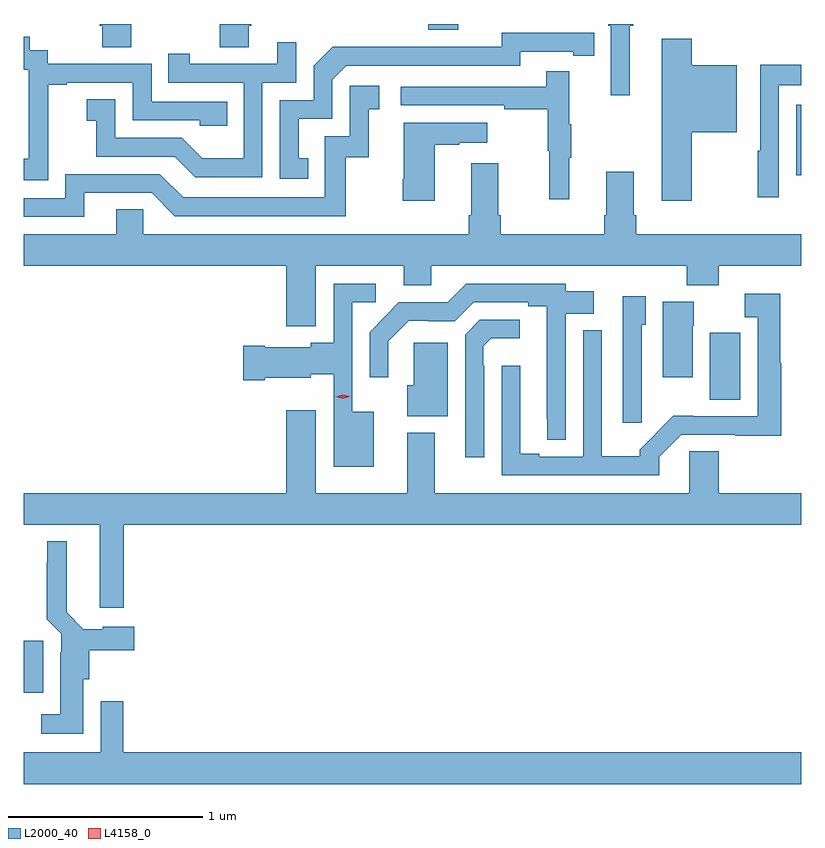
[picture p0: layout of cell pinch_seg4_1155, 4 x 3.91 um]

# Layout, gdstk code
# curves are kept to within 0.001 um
import gdstk
lib = gdstk.Library(unit=1e-6, precision=1e-09)
def R(c, l, rs):  # rectangles x0, y0, x1, y1
    for r in rs: c.add(gdstk.rectangle(r[:2], r[2:], *l))
def P(c, l, *ps):  # polygons
    for p in ps: c.add(gdstk.Polygon(p, *l))
L2000_40 = (2000, 40)
L4158_0 = (4158, 0)

pinch_seg4_1155 = lib.new_cell('pinch_seg4_1155')
R(pinch_seg4_1155, L2000_40, [(400.262,758.661,400.363,758.929), (403.79,760.168,403.948,760.513), (404.234,761.321,404.262,761.686), (402.344,762.071,402.496,762.1)])
P(pinch_seg4_1155, L2000_40, [(403.378,762.092),(403.397,762.092),(403.397,762.1),(403.268,762.1),(403.268,762.092),(403.281,762.092),(403.281,761.733),(403.378,761.733)],
  [(400.815,762.1),(400.655,762.1),(400.655,762.09),(400.667,762.09),(400.667,761.98),(400.815,761.98)],
  [(401.419,762.09),(401.432,762.09),(401.432,762.1),(401.272,762.1),(401.272,761.98),(401.419,761.98)],
  [(401.726,761.409),(401.677,761.409),(401.677,761.613),(401.85,761.613),(401.85,761.814),(401.922,761.886),(402.816,761.886),(402.816,761.958),(403.088,761.958),(403.088,761.938),(403.196,761.938),(403.196,762.054),(402.72,762.055),(402.72,761.982),(402.26,761.982),(402.26,761.984),(401.852,761.984),(401.754,761.886),(401.754,761.709),(401.58,761.709),(401.58,761.304),(401.726,761.304)],
  [(400.389,761.503),(400.388,761.503),(400.388,761.787),(400.483,761.787),(400.483,761.799),(400.824,761.799),(400.824,761.604),(401.169,761.604),(401.169,761.577),(401.309,761.577),(401.309,761.7),(400.92,761.7),(400.92,761.895),(400.386,761.895),(400.386,761.964),(400.294,761.964),(400.294,762.034),(400.262,762.034),(400.262,761.865),(400.29,761.865),(400.29,761.636),(400.289,761.636),(400.289,761.407),(400.262,761.407),(400.262,761.297),(400.389,761.297)],
  [(403.698,761.543),(403.93,761.543),(403.93,761.887),(403.698,761.887),(403.698,762.025),(403.544,762.025),(403.544,761.19),(403.698,761.19)],
  [(401.49,761.799),(401.664,761.799),(401.664,762.007),(401.567,762.007),(401.567,761.895),(401.116,761.895),(401.116,761.947),(401.005,761.947),(401.005,761.799),(401.394,761.799),(401.394,761.41),(401.18,761.41),(401.076,761.514),(400.734,761.514),(400.734,761.713),(400.587,761.713),(400.587,761.603),(400.636,761.603),(400.636,761.418),(401.039,761.418),(401.144,761.313),(401.49,761.313)],
  [(404.145,761.786),(404.262,761.786),(404.262,761.89),(404.049,761.89),(404.049,761.447),(404.037,761.447),(404.037,761.208),(404.145,761.208)],
  [(403.067,761.411),(403.078,761.411),(403.078,761.585),(403.067,761.585),(403.067,761.857),(402.949,761.857),(402.949,761.778),(402.201,761.778),(402.201,761.682),(402.733,761.682),(402.733,761.662),(402.957,761.662),(402.957,761.448),(402.964,761.448),(402.964,761.199),(403.067,761.199)],
  [(400.573,761.232),(400.92,761.232),(401.04,761.112),(401.92,761.112),(401.92,761.415),(402.038,761.415),(402.038,761.661),(402.091,761.661),(402.091,761.782),(401.94,761.782),(401.94,761.523),(401.811,761.523),(401.811,761.208),(401.082,761.208),(400.962,761.328),(400.476,761.328),(400.476,761.205),(400.262,761.205),(400.262,761.109),(400.573,761.109)],
  [(402.376,761.479),(402.503,761.479),(402.503,761.489),(402.646,761.489),(402.646,761.593),(402.218,761.593),(402.218,761.302),(402.211,761.302),(402.211,761.19),(402.376,761.19)],
  [(401.764,760.856),(402.218,760.856),(402.218,760.757),(402.358,760.757),(402.358,760.856),(403.673,760.856),(403.673,760.757),(403.838,760.757),(403.838,760.856),(404.262,760.856),(404.262,761.02),(403.412,761.02),(403.412,761.116),(403.399,761.116),(403.399,761.341),(403.259,761.341),(403.259,761.116),(403.247,761.116),(403.247,761.02),(402.716,761.02),(402.716,761.116),(402.703,761.116),(402.703,761.383),(402.563,761.383),(402.563,761.116),(402.551,761.116),(402.551,761.02),(400.878,761.02),(400.878,761.147),(400.739,761.147),(400.739,761.02),(400.262,761.02),(400.262,760.856),(401.612,760.856),(401.612,760.547),(401.764,760.547)],
  [(402.064,760.105),(401.952,760.105),(401.952,760.668),(402.072,760.668),(402.072,760.764),(401.856,760.764),(401.856,760.462),(401.739,760.462),(401.739,760.438),(401.503,760.438),(401.503,760.446),(401.391,760.446),(401.391,760.268),(401.503,760.268),(401.503,760.28),(401.739,760.28),(401.739,760.298),(401.856,760.298),(401.856,759.824),(402.064,759.824)],
  [(403.05,760.61),(403.195,760.61),(403.195,760.726),(403.05,760.726),(403.05,760.764),(402.539,760.764),(402.443,760.668),(402.192,760.668),(402.042,760.516),(402.042,760.284),(402.137,760.284),(402.137,760.469),(402.242,760.574),(402.344,760.574),(402.344,760.572),(402.48,760.572),(402.576,760.668),(402.857,760.668),(402.857,760.648),(402.953,760.648),(402.954,759.961),(403.05,759.961)],
  [(403.531,759.874),(403.644,759.987),(403.921,759.987),(403.921,759.982),(404.158,759.982),(404.158,760.356),(404.153,760.356),(404.153,760.714),(403.971,760.714),(403.971,760.593),(404.037,760.593),(404.037,760.083),(403.705,760.083),(403.705,760.085),(403.604,760.085),(403.43,759.911),(403.43,759.877),(403.236,759.877),(403.236,760.525),(403.14,760.525),(403.14,759.876),(402.913,759.876),(402.913,759.891),(402.817,759.891),(402.817,760.342),(402.72,760.342),(402.72,759.78),(403.531,759.78)],
  [(403.44,760.554),(403.462,760.554),(403.462,760.699),(403.344,760.699),(403.344,760.05),(403.44,760.05)],
  [(403.702,760.548),(403.708,760.548),(403.708,760.672),(403.55,760.672),(403.55,760.284),(403.702,760.284)],
  [(402.63,760.343),(402.627,760.343),(402.627,760.443),(402.668,760.484),(402.814,760.484),(402.814,760.578),(402.609,760.578),(402.534,760.503),(402.534,759.873),(402.63,759.873)],
  [(402.442,760.461),(402.269,760.461),(402.269,760.243),(402.236,760.243),(402.236,760.082),(402.442,760.082)],
  [(400.778,759.524),(404.262,759.524),(404.262,759.688),(403.838,759.688),(403.838,759.902),(403.686,759.902),(403.686,759.688),(402.376,759.688),(402.376,759.997),(402.236,759.997),(402.236,759.688),(401.764,759.688),(401.764,760.114),(401.612,760.114),(401.612,759.688),(400.262,759.688),(400.262,759.524),(400.655,759.524),(400.655,759.099),(400.778,759.099)],
  [(400.57,758.73),(400.601,758.73),(400.601,758.879),(400.831,758.879),(400.831,759.001),(400.668,759.001),(400.668,758.989),(400.569,758.989),(400.483,759.076),(400.483,759.439),(400.385,759.439),(400.385,759.329),(400.381,759.329),(400.381,759.038),(400.455,758.964),(400.455,758.87),(400.451,758.87),(400.451,758.551),(400.353,758.551),(400.353,758.45),(400.57,758.45)],
  [(404.262,758.356),(400.775,758.356),(400.775,758.617),(400.659,758.617),(400.659,758.356),(400.262,758.356),(400.262,758.192),(404.262,758.192)])
P(pinch_seg4_1155, L4158_0, [(401.904,760.174),(401.868,760.183),(401.868,760.183),(401.868,760.183),(401.904,760.194),(401.939,760.185),(401.94,760.185),(401.939,760.184)])

lib.write_gds('pinch_seg4_1155.gds')
